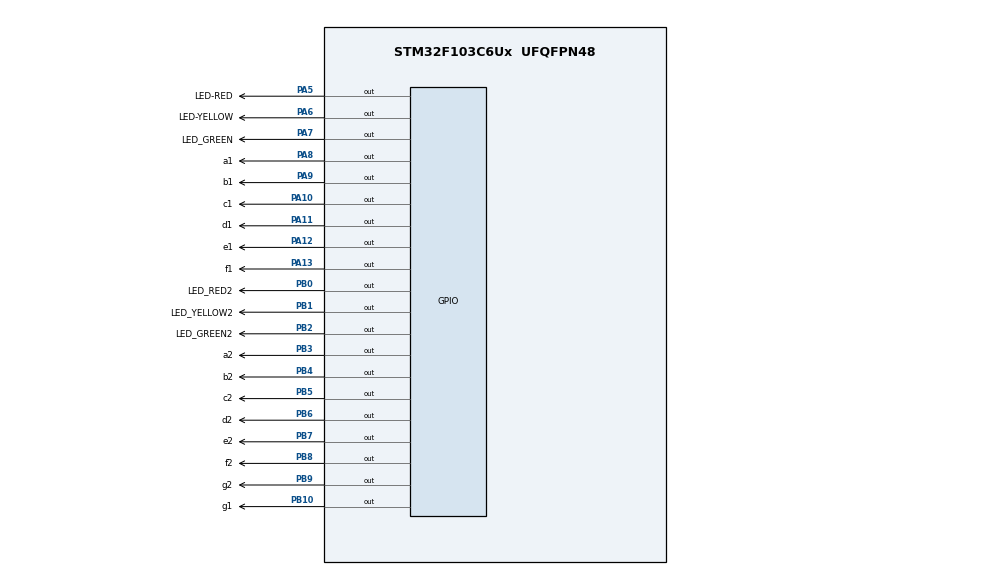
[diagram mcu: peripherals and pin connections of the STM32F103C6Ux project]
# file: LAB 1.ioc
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Mcu.Family=STM32F1
Mcu.Name=STM32F103C6Ux
Mcu.Package=UFQFPN48
NVIC.PriorityGroup=NVIC_PRIORITYGROUP_4
PA10.GPIO_Label=c1
PA10.Signal=GPIO_Output
PA11.GPIO_Label=d1
PA11.Signal=GPIO_Output
PA12.GPIO_Label=e1
PA12.Signal=GPIO_Output
PA13.GPIO_Label=f1
PA13.Signal=GPIO_Output
PA5.GPIO_Label=LED-RED
PA5.Signal=GPIO_Output
PA6.GPIO_Label=LED-YELLOW
PA6.Signal=GPIO_Output
PA7.GPIO_Label=LED_GREEN
PA7.Signal=GPIO_Output
PA8.GPIO_Label=a1
PA8.Signal=GPIO_Output
PA9.GPIO_Label=b1
PA9.Signal=GPIO_Output
PB0.GPIO_Label=LED_RED2
PB0.Signal=GPIO_Output
PB1.GPIO_Label=LED_YELLOW2
PB1.Signal=GPIO_Output
PB10.GPIO_Label=g1
PB10.Signal=GPIO_Output
PB2.GPIO_Label=LED_GREEN2
PB2.Signal=GPIO_Output
PB3.GPIO_Label=a2
PB3.Signal=GPIO_Output
PB4.GPIO_Label=b2
PB4.Signal=GPIO_Output
PB5.GPIO_Label=c2
PB5.Signal=GPIO_Output
PB6.GPIO_Label=d2
PB6.Signal=GPIO_Output
PB7.GPIO_Label=e2
PB7.Signal=GPIO_Output
PB8.GPIO_Label=f2
PB8.Signal=GPIO_Output
PB9.GPIO_Label=g2
PB9.Signal=GPIO_Output
ProjectManager.HeapSize=0x200
ProjectManager.StackSize=0x400
ProjectManager.TargetToolchain=STM32CubeIDE
RCC.APB1Freq_Value=8000000
RCC.APB2Freq_Value=8000000
VP_SYS_VS_ND.Mode=No_Debug
board=custom

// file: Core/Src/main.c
/* USER CODE BEGIN Header */
/**
  ******************************************************************************
  * @file           : main.c
  * @brief          : Main program body
  ******************************************************************************
  * @attention
  *
  * <h2><center>&copy; Copyright (c) 2024 STMicroelectronics.
  * All rights reserved.</center></h2>
  *
  * This software component is licensed by ST under BSD 3-Clause license,
  * the "License"; You may not use this file except in compliance with the
  * License. You may obtain a copy of the License at:
  *                        opensource.org/licenses/BSD-3-Clause
  *
  ******************************************************************************
  */
/* USER CODE END Header */
#include "main.h"

void SystemClock_Config(void);
static void MX_GPIO_Init(void);
/* USER CODE BEGIN PFP */
void bai2(){
      HAL_GPIO_WritePin(LED_RED_GPIO_Port, LED_RED_Pin, SET);
	  HAL_GPIO_WritePin(LED_YELLOW_GPIO_Port, LED_YELLOW_Pin, RESET);
	  HAL_GPIO_WritePin(LED_GREEN_GPIO_Port, LED_GREEN_Pin, RESET);
	  HAL_Delay(5000);
	  HAL_GPIO_WritePin(LED_RED_GPIO_Port, LED_RED_Pin, RESET);
	  HAL_GPIO_WritePin(LED_YELLOW_GPIO_Port, LED_YELLOW_Pin, SET);
	  HAL_GPIO_WritePin(LED_GREEN_GPIO_Port, LED_GREEN_Pin, RESET);
	  HAL_Delay(2000);
	  HAL_GPIO_WritePin(LED_RED_GPIO_Port, LED_RED_Pin, RESET);
	  HAL_GPIO_WritePin(LED_YELLOW_GPIO_Port, LED_YELLOW_Pin, RESET);
	  HAL_GPIO_WritePin(LED_GREEN_GPIO_Port, LED_GREEN_Pin, SET);
	  HAL_Delay(3000);
}
void Bai3(int count){
	if (count >= 7){
	  HAL_GPIO_WritePin(LED_RED_GPIO_Port, LED_RED_Pin, RESET);
	  HAL_GPIO_WritePin(LED_YELLOW_GPIO_Port, LED_YELLOW_Pin, RESET);
	  HAL_GPIO_WritePin(LED_GREEN_GPIO_Port, LED_GREEN_Pin, SET);
  }else if (count >= 5) {
	  HAL_GPIO_WritePin(LED_RED_GPIO_Port, LED_RED_Pin, RESET);
	  HAL_GPIO_WritePin(LED_YELLOW_GPIO_Port, LED_YELLOW_Pin, SET);
	  HAL_GPIO_WritePin(LED_GREEN_GPIO_Port, LED_GREEN_Pin, RESET);
  }else if (count >= 0) {
	  HAL_GPIO_WritePin(LED_RED_GPIO_Port, LED_RED_Pin, SET);
	  HAL_GPIO_WritePin(LED_YELLOW_GPIO_Port, LED_YELLOW_Pin, RESET);
	  HAL_GPIO_WritePin(LED_GREEN_GPIO_Port, LED_GREEN_Pin, RESET);
  }

  if (count >= 5){
	  HAL_GPIO_WritePin(LED_RED2_GPIO_Port, LED_RED2_Pin, SET);
	  HAL_GPIO_WritePin(LED_YELLOW2_GPIO_Port, LED_YELLOW2_Pin, RESET);
	  HAL_GPIO_WritePin(LED_GREEN2_GPIO_Port, LED_GREEN2_Pin, RESET);
  }else if (count >= 2) {
	  HAL_GPIO_WritePin(LED_RED2_GPIO_Port, LED_RED2_Pin, RESET);
	  HAL_GPIO_WritePin(LED_YELLOW2_GPIO_Port, LED_YELLOW2_Pin, RESET);
	  HAL_GPIO_WritePin(LED_GREEN2_GPIO_Port, LED_GREEN2_Pin, SET);
  }else if (count >= 0) {
	  HAL_GPIO_WritePin(LED_RED2_GPIO_Port, LED_RED2_Pin, RESET);
	  HAL_GPIO_WritePin(LED_YELLOW2_GPIO_Port, LED_YELLOW2_Pin, SET);
	  HAL_GPIO_WritePin(LED_GREEN2_GPIO_Port, LED_GREEN2_Pin, RESET);
  }
  count--;
  if (count == -1) count = 10;
  HAL_Delay(1000);
}

void seg_0_2(){
	HAL_GPIO_WritePin(a2_GPIO_Port, a2_Pin, RESET);
	HAL_GPIO_WritePin(b2_GPIO_Port, b2_Pin, RESET);
	HAL_GPIO_WritePin(c2_GPIO_Port, c2_Pin, RESET);
	HAL_GPIO_WritePin(d2_GPIO_Port, d2_Pin, RESET);
	HAL_GPIO_WritePin(e2_GPIO_Port, e2_Pin, RESET);
	HAL_GPIO_WritePin(f2_GPIO_Port, f2_Pin, RESET);
	HAL_GPIO_WritePin(g2_GPIO_Port, g2_Pin, SET);
}
void seg_1_2(){
	HAL_GPIO_WritePin(a2_GPIO_Port, a2_Pin, SET);
	HAL_GPIO_WritePin(b2_GPIO_Port, b2_Pin, RESET);
	HAL_GPIO_WritePin(c2_GPIO_Port, c2_Pin, RESET);
	HAL_GPIO_WritePin(d2_GPIO_Port, d2_Pin, SET);
	HAL_GPIO_WritePin(e2_GPIO_Port, e2_Pin, SET);
	HAL_GPIO_WritePin(f2_GPIO_Port, f2_Pin, SET);
	HAL_GPIO_WritePin(g2_GPIO_Port, g2_Pin, SET);
}
void seg_2_2(){
	HAL_GPIO_WritePin(a2_GPIO_Port, a2_Pin, RESET);
	HAL_GPIO_WritePin(b2_GPIO_Port, b2_Pin, RESET);
	HAL_GPIO_WritePin(c2_GPIO_Port, c2_Pin, SET);
	HAL_GPIO_WritePin(d2_GPIO_Port, d2_Pin, RESET);
	HAL_GPIO_WritePin(e2_GPIO_Port, e2_Pin, RESET);
	HAL_GPIO_WritePin(f2_GPIO_Port, f2_Pin, SET);
	HAL_GPIO_WritePin(g2_GPIO_Port, g2_Pin, RESET);
}
void seg_3_2(){
	HAL_GPIO_WritePin(a2_GPIO_Port, a2_Pin, RESET);
	HAL_GPIO_WritePin(b2_GPIO_Port, b2_Pin, RESET);
	HAL_GPIO_WritePin(c2_GPIO_Port, c2_Pin, RESET);
	HAL_GPIO_WritePin(d2_GPIO_Port, d2_Pin, RESET);
	HAL_GPIO_WritePin(e2_GPIO_Port, e2_Pin, SET);
	HAL_GPIO_WritePin(f2_GPIO_Port, f2_Pin, SET);
	HAL_GPIO_WritePin(g2_GPIO_Port, g2_Pin, RESET);
}
void seg_4_2(){
	HAL_GPIO_WritePin(a2_GPIO_Port, a2_Pin, SET);
	HAL_GPIO_WritePin(b2_GPIO_Port, b2_Pin, RESET);
	HAL_GPIO_WritePin(c2_GPIO_Port, c2_Pin, RESET);
	HAL_GPIO_WritePin(d2_GPIO_Port, d2_Pin, SET);
	HAL_GPIO_WritePin(e2_GPIO_Port, e2_Pin, SET);
	HAL_GPIO_WritePin(f2_GPIO_Port, f2_Pin, RESET);
	HAL_GPIO_WritePin(g2_GPIO_Port, g2_Pin, RESET);
}
void seg_5_2(){
	HAL_GPIO_WritePin(a2_GPIO_Port, a2_Pin, RESET);
	HAL_GPIO_WritePin(b2_GPIO_Port, b2_Pin, SET);
	HAL_GPIO_WritePin(c2_GPIO_Port, c2_Pin, RESET);
	HAL_GPIO_WritePin(d2_GPIO_Port, d2_Pin, RESET);
	HAL_GPIO_WritePin(e2_GPIO_Port, e2_Pin, SET);
	HAL_GPIO_WritePin(f2_GPIO_Port, f2_Pin, RESET);
	HAL_GPIO_WritePin(g2_GPIO_Port, g2_Pin, RESET);
}
void seg_6_2(){
	HAL_GPIO_WritePin(a2_GPIO_Port, a2_Pin, RESET);
	HAL_GPIO_WritePin(b2_GPIO_Port, b2_Pin, SET);
	HAL_GPIO_WritePin(c2_GPIO_Port, c2_Pin, RESET);
	HAL_GPIO_WritePin(d2_GPIO_Port, d2_Pin, RESET);
	HAL_GPIO_WritePin(e2_GPIO_Port, e2_Pin, RESET);
	HAL_GPIO_WritePin(f2_GPIO_Port, f2_Pin, RESET);
	HAL_GPIO_WritePin(g2_GPIO_Port, g2_Pin, RESET);
}
void seg_7_2(){
	HAL_GPIO_WritePin(a2_GPIO_Port, a2_Pin, RESET);
	HAL_GPIO_WritePin(b2_GPIO_Port, b2_Pin, RESET);
	HAL_GPIO_WritePin(c2_GPIO_Port, c2_Pin, RESET);
	HAL_GPIO_WritePin(d2_GPIO_Port, d2_Pin, SET);
	HAL_GPIO_WritePin(e2_GPIO_Port, e2_Pin, SET);
	HAL_GPIO_WritePin(f2_GPIO_Port, f2_Pin, SET);
	HAL_GPIO_WritePin(g2_GPIO_Port, g2_Pin, SET);
}
void seg_8_2(){
	HAL_GPIO_WritePin(a2_GPIO_Port, a2_Pin, RESET);
	HAL_GPIO_WritePin(b2_GPIO_Port, b2_Pin, RESET);
	HAL_GPIO_WritePin(c2_GPIO_Port, c2_Pin, RESET);
	HAL_GPIO_WritePin(d2_GPIO_Port, d2_Pin, RESET);
	HAL_GPIO_WritePin(e2_GPIO_Port, e2_Pin, RESET);
	HAL_GPIO_WritePin(f2_GPIO_Port, f2_Pin, RESET);
	HAL_GPIO_WritePin(g2_GPIO_Port, g2_Pin, RESET);
}
void seg_9_2(){
	HAL_GPIO_WritePin(a2_GPIO_Port, a2_Pin, RESET);
	HAL_GPIO_WritePin(b2_GPIO_Port, b2_Pin, RESET);
	HAL_GPIO_WritePin(c2_GPIO_Port, c2_Pin, RESET);
	HAL_GPIO_WritePin(d2_GPIO_Port, d2_Pin, RESET);
	HAL_GPIO_WritePin(e2_GPIO_Port, e2_Pin, SET);
	HAL_GPIO_WritePin(f2_GPIO_Port, f2_Pin, RESET);
	HAL_GPIO_WritePin(g2_GPIO_Port, g2_Pin, RESET);
}
void seg_0(){
	HAL_GPIO_WritePin(a1_GPIO_Port, a1_Pin, RESET);
	HAL_GPIO_WritePin(b1_GPIO_Port, b1_Pin, RESET);
	HAL_GPIO_WritePin(c1_GPIO_Port, c1_Pin, RESET);
	HAL_GPIO_WritePin(d1_GPIO_Port, d1_Pin, RESET);
	HAL_GPIO_WritePin(e1_GPIO_Port, e1_Pin, RESET);
	HAL_GPIO_WritePin(f1_GPIO_Port, f1_Pin, RESET);
	HAL_GPIO_WritePin(g1_GPIO_Port, g1_Pin, SET);
}
void seg_1(){
	HAL_GPIO_WritePin(a1_GPIO_Port, a1_Pin, SET);
	HAL_GPIO_WritePin(b1_GPIO_Port, b1_Pin, RESET);
	HAL_GPIO_WritePin(c1_GPIO_Port, c1_Pin, RESET);
	HAL_GPIO_WritePin(d1_GPIO_Port, d1_Pin, SET);
	HAL_GPIO_WritePin(e1_GPIO_Port, e1_Pin, SET);
	HAL_GPIO_WritePin(f1_GPIO_Port, f1_Pin, SET);
	HAL_GPIO_WritePin(g1_GPIO_Port, g1_Pin, SET);
}
void seg_2(){
	HAL_GPIO_WritePin(a1_GPIO_Port, a1_Pin, RESET);
	HAL_GPIO_WritePin(b1_GPIO_Port, b1_Pin, RESET);
	HAL_GPIO_WritePin(c1_GPIO_Port, c1_Pin, SET);
	HAL_GPIO_WritePin(d1_GPIO_Port, d1_Pin, RESET);
	HAL_GPIO_WritePin(e1_GPIO_Port, e1_Pin, RESET);
	HAL_GPIO_WritePin(f1_GPIO_Port, f1_Pin, SET);
	HAL_GPIO_WritePin(g1_GPIO_Port, g1_Pin, RESET);
}
void seg_3(){
	HAL_GPIO_WritePin(a1_GPIO_Port, a1_Pin, RESET);
	HAL_GPIO_WritePin(b1_GPIO_Port, b1_Pin, RESET);
	HAL_GPIO_WritePin(c1_GPIO_Port, c1_Pin, RESET);
	HAL_GPIO_WritePin(d1_GPIO_Port, d1_Pin, RESET);
	HAL_GPIO_WritePin(e1_GPIO_Port, e1_Pin, SET);
	HAL_GPIO_WritePin(f1_GPIO_Port, f1_Pin, SET);
	HAL_GPIO_WritePin(g1_GPIO_Port, g1_Pin, RESET);
}
void seg_4(){
	HAL_GPIO_WritePin(a1_GPIO_Port, a1_Pin, SET);
	HAL_GPIO_WritePin(b1_GPIO_Port, b1_Pin, RESET);
	HAL_GPIO_WritePin(c1_GPIO_Port, c1_Pin, RESET);
	HAL_GPIO_WritePin(d1_GPIO_Port, d1_Pin, SET);
	HAL_GPIO_WritePin(e1_GPIO_Port, e1_Pin, SET);
	HAL_GPIO_WritePin(f1_GPIO_Port, f1_Pin, RESET);
	HAL_GPIO_WritePin(g1_GPIO_Port, g1_Pin, RESET);
}
void seg_5(){
	HAL_GPIO_WritePin(a1_GPIO_Port, a1_Pin, RESET);
	HAL_GPIO_WritePin(b1_GPIO_Port, b1_Pin, SET);
	HAL_GPIO_WritePin(c1_GPIO_Port, c1_Pin, RESET);
	HAL_GPIO_WritePin(d1_GPIO_Port, d1_Pin, RESET);
	HAL_GPIO_WritePin(e1_GPIO_Port, e1_Pin, SET);
	HAL_GPIO_WritePin(f1_GPIO_Port, f1_Pin, RESET);
	HAL_GPIO_WritePin(g1_GPIO_Port, g1_Pin, RESET);
}
void seg_6(){
	HAL_GPIO_WritePin(a1_GPIO_Port, a1_Pin, RESET);
	HAL_GPIO_WritePin(b1_GPIO_Port, b1_Pin, SET);
	HAL_GPIO_WritePin(c1_GPIO_Port, c1_Pin, RESET);
	HAL_GPIO_WritePin(d1_GPIO_Port, d1_Pin, RESET);
	HAL_GPIO_WritePin(e1_GPIO_Port, e1_Pin, RESET);
	HAL_GPIO_WritePin(f1_GPIO_Port, f1_Pin, RESET);
	HAL_GPIO_WritePin(g1_GPIO_Port, g1_Pin, RESET);
}
void seg_7(){
	HAL_GPIO_WritePin(a1_GPIO_Port, a1_Pin, RESET);
	HAL_GPIO_WritePin(b1_GPIO_Port, b1_Pin, RESET);
	HAL_GPIO_WritePin(c1_GPIO_Port, c1_Pin, RESET);
	HAL_GPIO_WritePin(d1_GPIO_Port, d1_Pin, SET);
	HAL_GPIO_WritePin(e1_GPIO_Port, e1_Pin, SET);
	HAL_GPIO_WritePin(f1_GPIO_Port, f1_Pin, SET);
	HAL_GPIO_WritePin(g1_GPIO_Port, g1_Pin, SET);
}
void seg_8(){
	HAL_GPIO_WritePin(a1_GPIO_Port, a1_Pin, RESET);
	HAL_GPIO_WritePin(b1_GPIO_Port, b1_Pin, RESET);
	HAL_GPIO_WritePin(c1_GPIO_Port, c1_Pin, RESET);
	HAL_GPIO_WritePin(d1_GPIO_Port, d1_Pin, RESET);
	HAL_GPIO_WritePin(e1_GPIO_Port, e1_Pin, RESET);
	HAL_GPIO_WritePin(f1_GPIO_Port, f1_Pin, RESET);
	HAL_GPIO_WritePin(g1_GPIO_Port, g1_Pin, RESET);
}
void seg_9(){
	HAL_GPIO_WritePin(a1_GPIO_Port, a1_Pin, RESET);
	HAL_GPIO_WritePin(b1_GPIO_Port, b1_Pin, RESET);
	HAL_GPIO_WritePin(c1_GPIO_Port, c1_Pin, RESET);
	HAL_GPIO_WritePin(d1_GPIO_Port, d1_Pin, RESET);
	HAL_GPIO_WritePin(e1_GPIO_Port, e1_Pin, SET);
	HAL_GPIO_WritePin(f1_GPIO_Port, f1_Pin, RESET);
	HAL_GPIO_WritePin(g1_GPIO_Port, g1_Pin, RESET);
}

void Bai4_1(int a){
	switch (a) {
	case 0:
		seg_0();
		break;
	case 1:
		seg_1();
		break;
	case 2:
		seg_2();
		break;
	case 3:
		seg_3();
		break;
	case 4:
		seg_4();
		break;
	case 5:
		seg_5();
		break;
	case 6:
		seg_6();
		break;
	case 7:
		seg_7();
		break;
	case 8:
		seg_8();
		break;
	default:
		seg_9();
	}
}
void Bai4_2(int a){
	switch (a) {
	case 0:
		seg_0_2();
		break;
	case 1:
		seg_1_2();
		break;
	case 2:
		seg_2_2();
		break;
	case 3:
		seg_3_2();
		break;
	case 4:
		seg_4_2();
		break;
	case 5:
		seg_5_2();
		break;
	case 6:
		seg_6_2();
		break;
	case 7:
		seg_7_2();
		break;
	case 8:
		seg_8_2();
		break;
	default:
		seg_9_2();
	}
}
/* USER CODE END PFP */

int main(void)
{

  /* MCU Configuration--------------------------------------------------------*/

  /* Reset of all peripherals, Initializes the Flash interface and the Systick. */
  HAL_Init();

  /* Configure the system clock */
  SystemClock_Config();

  /* Initialize all configured peripherals */
  MX_GPIO_Init();

  /* Infinite loop */
  /* USER CODE BEGIN WHILE */
  int count = 0;
  while (1)
  {
    /* USER CODE END WHILE */
	  if (count >= 7){
	  	  HAL_GPIO_WritePin(LED_RED_GPIO_Port, LED_RED_Pin, RESET);
	  	  HAL_GPIO_WritePin(LED_YELLOW_GPIO_Port, LED_YELLOW_Pin, RESET);
	  	  HAL_GPIO_WritePin(LED_GREEN_GPIO_Port, LED_GREEN_Pin, SET);
	  	  Bai4_1(count - 6);
	    }else if (count >= 5) {
	  	  HAL_GPIO_WritePin(LED_RED_GPIO_Port, LED_RED_Pin, RESET);
	  	  HAL_GPIO_WritePin(LED_YELLOW_GPIO_Port, LED_YELLOW_Pin, SET);
	  	  HAL_GPIO_WritePin(LED_GREEN_GPIO_Port, LED_GREEN_Pin, RESET);
	  	  Bai4_1(count - 4);
	    }else if (count >= 0) {
	  	  HAL_GPIO_WritePin(LED_RED_GPIO_Port, LED_RED_Pin, SET);
	  	  HAL_GPIO_WritePin(LED_YELLOW_GPIO_Port, LED_YELLOW_Pin, RESET);
	  	  HAL_GPIO_WritePin(LED_GREEN_GPIO_Port, LED_GREEN_Pin, RESET);
	  	  Bai4_1(count + 1);
	    }

	    if (count >= 5){
	  	  HAL_GPIO_WritePin(LED_RED2_GPIO_Port, LED_RED2_Pin, SET);
	  	  HAL_GPIO_WritePin(LED_YELLOW2_GPIO_Port, LED_YELLOW2_Pin, RESET);
	  	  HAL_GPIO_WritePin(LED_GREEN2_GPIO_Port, LED_GREEN2_Pin, RESET);
	  	  Bai4_2(count - 4);
	    }else if (count >= 2) {
	  	  HAL_GPIO_WritePin(LED_RED2_GPIO_Port, LED_RED2_Pin, RESET);
	  	  HAL_GPIO_WritePin(LED_YELLOW2_GPIO_Port, LED_YELLOW2_Pin, RESET);
	  	  HAL_GPIO_WritePin(LED_GREEN2_GPIO_Port, LED_GREEN2_Pin, SET);
	  	  Bai4_2(count - 1);
	    }else if (count >= 0) {
	  	  HAL_GPIO_WritePin(LED_RED2_GPIO_Port, LED_RED2_Pin, RESET);
	  	  HAL_GPIO_WritePin(LED_YELLOW2_GPIO_Port, LED_YELLOW2_Pin, SET);
	  	  HAL_GPIO_WritePin(LED_GREEN2_GPIO_Port, LED_GREEN2_Pin, RESET);
	  	  Bai4_2(count + 1);
	    }

	    count--;
	    if (count == -1) count = 9;
	    HAL_Delay(1000);
  }
}

void SystemClock_Config(void)
{
  RCC_OscInitTypeDef RCC_OscInitStruct = {0};
  RCC_ClkInitTypeDef RCC_ClkInitStruct = {0};

  /** Initializes the RCC Oscillators according to the specified parameters
  * in the RCC_OscInitTypeDef structure.
  */
  RCC_OscInitStruct.OscillatorType = RCC_OSCILLATORTYPE_HSI;
  RCC_OscInitStruct.HSIState = RCC_HSI_ON;
  RCC_OscInitStruct.HSICalibrationValue = RCC_HSICALIBRATION_DEFAULT;
  RCC_OscInitStruct.PLL.PLLState = RCC_PLL_NONE;
  if (HAL_RCC_OscConfig(&RCC_OscInitStruct) != HAL_OK)
  {
    Error_Handler();
  }
  /** Initializes the CPU, AHB and APB buses clocks
  */
  RCC_ClkInitStruct.ClockType = RCC_CLOCKTYPE_HCLK|RCC_CLOCKTYPE_SYSCLK
                              |RCC_CLOCKTYPE_PCLK1|RCC_CLOCKTYPE_PCLK2;
  RCC_ClkInitStruct.SYSCLKSource = RCC_SYSCLKSOURCE_HSI;
  RCC_ClkInitStruct.AHBCLKDivider = RCC_SYSCLK_DIV1;
  RCC_ClkInitStruct.APB1CLKDivider = RCC_HCLK_DIV1;
  RCC_ClkInitStruct.APB2CLKDivider = RCC_HCLK_DIV1;

  if (HAL_RCC_ClockConfig(&RCC_ClkInitStruct, FLASH_LATENCY_0) != HAL_OK)
  {
    Error_Handler();
  }
}

static void MX_GPIO_Init(void)
{
  GPIO_InitTypeDef GPIO_InitStruct = {0};

  /* GPIO Ports Clock Enable */
  __HAL_RCC_GPIOA_CLK_ENABLE();
  __HAL_RCC_GPIOB_CLK_ENABLE();

  /*Configure GPIO pin Output Level */
  HAL_GPIO_WritePin(GPIOA, LED_RED_Pin|LED_YELLOW_Pin|LED_GREEN_Pin|a1_Pin
                          |b1_Pin|c1_Pin|d1_Pin|e1_Pin
                          |f1_Pin, GPIO_PIN_RESET);

  /*Configure GPIO pin Output Level */
  HAL_GPIO_WritePin(GPIOB, LED_RED2_Pin|LED_YELLOW2_Pin|LED_GREEN2_Pin|g1_Pin
                          |a2_Pin|b2_Pin|c2_Pin|d2_Pin
                          |e2_Pin|f2_Pin|g2_Pin, GPIO_PIN_RESET);

  /*Configure GPIO pins : LED_RED_Pin LED_YELLOW_Pin LED_GREEN_Pin a1_Pin
                           b1_Pin c1_Pin d1_Pin e1_Pin
                           f1_Pin */
  GPIO_InitStruct.Pin = LED_RED_Pin|LED_YELLOW_Pin|LED_GREEN_Pin|a1_Pin
                          |b1_Pin|c1_Pin|d1_Pin|e1_Pin
                          |f1_Pin;
  GPIO_InitStruct.Mode = GPIO_MODE_OUTPUT_PP;
  GPIO_InitStruct.Pull = GPIO_NOPULL;
  GPIO_InitStruct.Speed = GPIO_SPEED_FREQ_LOW;
  HAL_GPIO_Init(GPIOA, &GPIO_InitStruct);

  /*Configure GPIO pins : LED_RED2_Pin LED_YELLOW2_Pin LED_GREEN2_Pin g1_Pin
                           a2_Pin b2_Pin c2_Pin d2_Pin
                           e2_Pin f2_Pin g2_Pin */
  GPIO_InitStruct.Pin = LED_RED2_Pin|LED_YELLOW2_Pin|LED_GREEN2_Pin|g1_Pin
                          |a2_Pin|b2_Pin|c2_Pin|d2_Pin
                          |e2_Pin|f2_Pin|g2_Pin;
  GPIO_InitStruct.Mode = GPIO_MODE_OUTPUT_PP;
  GPIO_InitStruct.Pull = GPIO_NOPULL;
  GPIO_InitStruct.Speed = GPIO_SPEED_FREQ_LOW;
  HAL_GPIO_Init(GPIOB, &GPIO_InitStruct);

}

void Error_Handler(void)
{
  __disable_irq();
  while (1)
  {
  }
}

/************************ (C) COPYRIGHT STMicroelectronics *****END OF FILE****/
